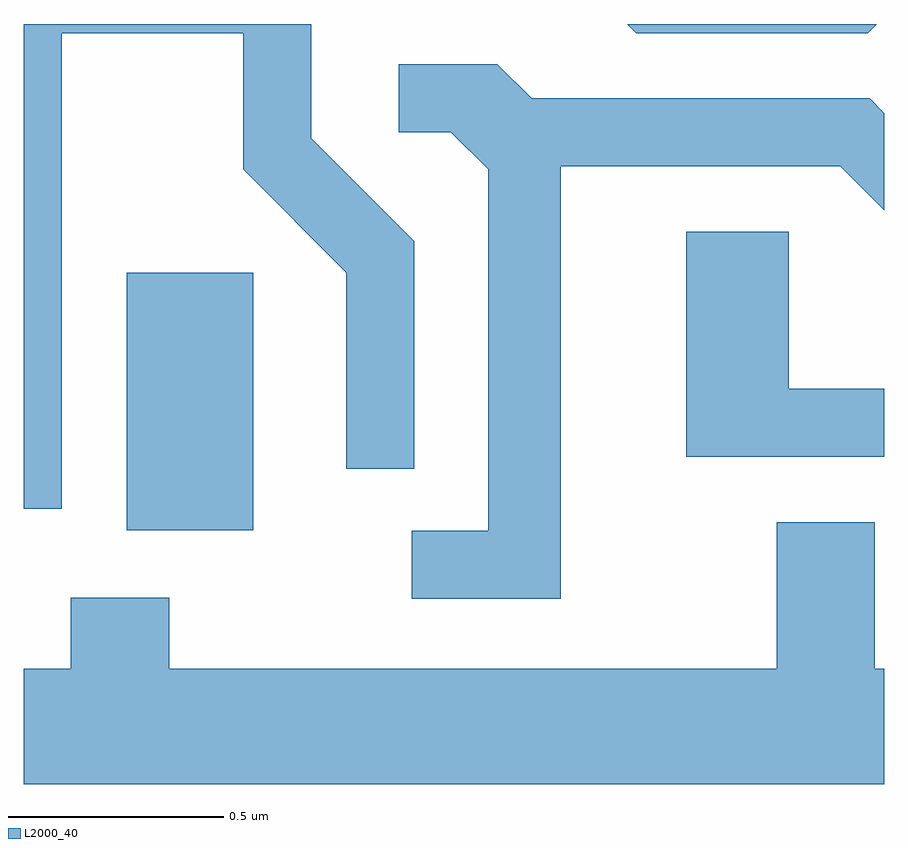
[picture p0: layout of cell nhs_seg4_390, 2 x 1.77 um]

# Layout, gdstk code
import gdstk
lib = gdstk.Library(unit=1e-6, precision=1e-09)
def R(c, l, rs):  # rectangles x0, y0, x1, y1
    for r in rs: c.add(gdstk.rectangle(r[:2], r[2:], *l))
def P(c, l, *ps):  # polygons
    for p in ps: c.add(gdstk.Polygon(p, *l))
L2000_40 = (2000, 40)

nhs_seg4_390 = lib.new_cell('nhs_seg4_390')
R(nhs_seg4_390, L2000_40, [(187.851,1370.806,188.144,1371.404)])
P(nhs_seg4_390, L2000_40, [(187.699,1371.961),(188.121,1371.961),(188.121,1371.644),(188.361,1371.404),(188.361,1370.948),(188.519,1370.948),(188.519,1371.477),(188.279,1371.717),(188.279,1371.982),(187.611,1371.982),(187.611,1370.856),(187.699,1370.856)],
  [(189.593,1371.982),(189.013,1371.982),(189.034,1371.961),(189.572,1371.961)],
  [(188.859,1371.651),(189.509,1371.651),(189.611,1371.549),(189.611,1371.775),(189.577,1371.809),(188.792,1371.809),(188.712,1371.889),(188.483,1371.889),(188.483,1371.731),(188.604,1371.731),(188.691,1371.644),(188.691,1370.804),(188.513,1370.804),(188.513,1370.646),(188.859,1370.646)],
  [(189.611,1371.134),(189.389,1371.134),(189.389,1371.499),(189.151,1371.499),(189.151,1370.976),(189.611,1370.976)],
  [(189.611,1370.484),(189.589,1370.484),(189.589,1370.824),(189.361,1370.824),(189.361,1370.484),(187.949,1370.484),(187.949,1370.649),(187.721,1370.649),(187.721,1370.484),(187.611,1370.484),(187.611,1370.216),(189.611,1370.216)])

lib.write_gds('nhs_seg4_390.gds')
